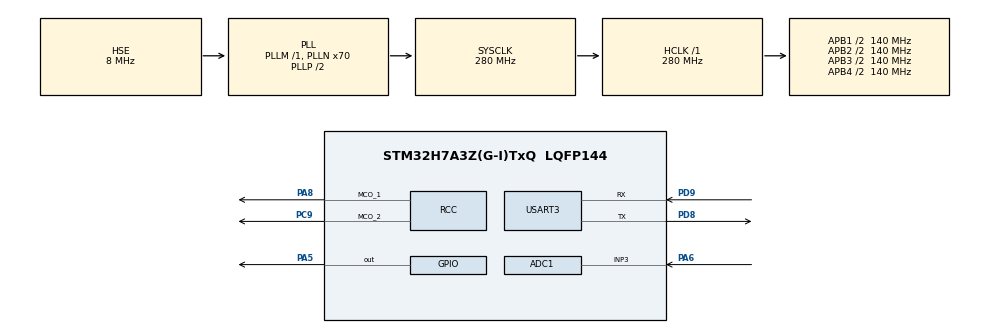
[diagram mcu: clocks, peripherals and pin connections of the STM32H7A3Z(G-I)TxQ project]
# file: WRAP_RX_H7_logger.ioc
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ADC1.Channel-0\#ChannelRegularConversion=ADC_CHANNEL_3
ADC1.ClockPrescaler=ADC_CLOCK_ASYNC_DIV1
ADC1.ContinuousConvMode=ENABLE
ADC1.ConversionDataManagement=ADC_CONVERSIONDATA_DMA_CIRCULAR
ADC1.DMAAccessModeView=ENABLE
ADC1.Mode=ADC_DUALMODE_INTERL
ADC1.NbrOfConversionFlag=1
ADC1.OffsetNumber-0\#ChannelRegularConversion=ADC_OFFSET_NONE
ADC1.OffsetSignedSaturation-0\#ChannelRegularConversion=DISABLE
ADC1.Rank-0\#ChannelRegularConversion=1
ADC1.Resolution=ADC_RESOLUTION_16B
ADC1.SamplingTime-0\#ChannelRegularConversion=ADC_SAMPLETIME_1CYCLE_5
ADC1.TwoSamplingDelay=ADC_TWOSAMPLINGDELAY_4CYCLES
ADC1.master=1
ADC2.Channel-0\#ChannelRegularConversion=ADC_CHANNEL_3
ADC2.DMAAccessModeView=ENABLE
ADC2.Mode=ADC_DUALMODE_INTERL
ADC2.NbrOfConversionFlag=1
ADC2.OffsetNumber-0\#ChannelRegularConversion=ADC_OFFSET_NONE
ADC2.OffsetSignedSaturation-0\#ChannelRegularConversion=DISABLE
ADC2.Rank-0\#ChannelRegularConversion=1
ADC2.SamplingTime-0\#ChannelRegularConversion=ADC_SAMPLETIME_1CYCLE_5
ADC2.TwoSamplingDelay=ADC_TWOSAMPLINGDELAY_4CYCLES
CORTEX_M7.default_mode_Activation=1
Dma.ADC1.0.Direction=DMA_PERIPH_TO_MEMORY
Dma.ADC1.0.EventEnable=DISABLE
Dma.ADC1.0.FIFOMode=DMA_FIFOMODE_DISABLE
Dma.ADC1.0.Instance=DMA1_Stream0
Dma.ADC1.0.MemDataAlignment=DMA_MDATAALIGN_WORD
Dma.ADC1.0.MemInc=DMA_MINC_ENABLE
Dma.ADC1.0.Mode=DMA_CIRCULAR
Dma.ADC1.0.PeriphDataAlignment=DMA_PDATAALIGN_WORD
Dma.ADC1.0.PeriphInc=DMA_PINC_DISABLE
Dma.ADC1.0.Polarity=HAL_DMAMUX_REQ_GEN_RISING
Dma.ADC1.0.Priority=DMA_PRIORITY_HIGH
Dma.ADC1.0.RequestNumber=1
Dma.ADC1.0.SignalID=NONE
Dma.ADC1.0.SyncEnable=DISABLE
Dma.ADC1.0.SyncPolarity=HAL_DMAMUX_SYNC_NO_EVENT
Dma.ADC1.0.SyncRequestNumber=1
Dma.ADC1.0.SyncSignalID=NONE
Dma.Request0=ADC1
Dma.Request1=USART3_RX
Dma.USART3_RX.1.Direction=DMA_PERIPH_TO_MEMORY
Dma.USART3_RX.1.EventEnable=DISABLE
Dma.USART3_RX.1.FIFOMode=DMA_FIFOMODE_DISABLE
Dma.USART3_RX.1.Instance=DMA1_Stream1
Dma.USART3_RX.1.MemDataAlignment=DMA_MDATAALIGN_BYTE
Dma.USART3_RX.1.MemInc=DMA_MINC_ENABLE
Dma.USART3_RX.1.Mode=DMA_CIRCULAR
Dma.USART3_RX.1.PeriphDataAlignment=DMA_PDATAALIGN_BYTE
Dma.USART3_RX.1.PeriphInc=DMA_PINC_DISABLE
Dma.USART3_RX.1.Polarity=HAL_DMAMUX_REQ_GEN_RISING
Dma.USART3_RX.1.Priority=DMA_PRIORITY_LOW
Dma.USART3_RX.1.RequestNumber=1
Dma.USART3_RX.1.SignalID=NONE
Dma.USART3_RX.1.SyncEnable=DISABLE
Dma.USART3_RX.1.SyncPolarity=HAL_DMAMUX_SYNC_NO_EVENT
Dma.USART3_RX.1.SyncRequestNumber=1
Dma.USART3_RX.1.SyncSignalID=NONE
Mcu.Family=STM32H7
Mcu.Name=STM32H7A3Z(G-I)TxQ
Mcu.Package=LQFP144
NVIC.ADC_IRQn=true\:0\:0\:false\:false\:true\:true\:true\:true
NVIC.DMA1_Stream0_IRQn=true\:0\:0\:false\:false\:true\:false\:true\:true
NVIC.DMA1_Stream1_IRQn=true\:0\:0\:false\:false\:true\:false\:true\:true
NVIC.PriorityGroup=NVIC_PRIORITYGROUP_4
NVIC.USART3_IRQn=true\:0\:0\:false\:false\:true\:true\:true\:true
PA5.GPIO_Speed=GPIO_SPEED_FREQ_VERY_HIGH
PA5.Signal=GPIO_Output
PA6.Signal=ADCx_INP3
PA8.Mode=Clock-out-1
PA8.Signal=RCC_MCO_1
PC14-OSC32_IN.Mode=LSE-External-Oscillator
PC14-OSC32_IN.Signal=RCC_OSC32_IN
PC15-OSC32_OUT.Mode=LSE-External-Oscillator
PC15-OSC32_OUT.Signal=RCC_OSC32_OUT
PC9.Mode=Clock-out-2
PC9.Signal=RCC_MCO_2
PD8.Mode=Asynchronous
PD8.Signal=USART3_TX
PD9.Mode=Asynchronous
PD9.Signal=USART3_RX
PH0-OSC_IN.Mode=HSE-External-Oscillator
PH0-OSC_IN.Signal=RCC_OSC_IN
PH1-OSC_OUT.Mode=HSE-External-Oscillator
PH1-OSC_OUT.Signal=RCC_OSC_OUT
ProjectManager.HeapSize=0x200
ProjectManager.StackSize=0x400
ProjectManager.TargetToolchain=STM32CubeIDE
RCC.ADCFreq_Value=50000000
RCC.APB1Freq_Value=140000000
RCC.APB2Freq_Value=140000000
RCC.APB3Freq_Value=140000000
RCC.APB4Freq_Value=140000000
RCC.CDPPRE=RCC_APB3_DIV2
RCC.CDPPRE1=RCC_APB1_DIV2
RCC.CDPPRE2=RCC_APB2_DIV2
RCC.CortexFreq_Value=280000000
RCC.DIVM1=1
RCC.DIVM2=1
RCC.DIVM3=1
RCC.DIVN1=70
RCC.DIVN2=18
RCC.DIVN3=24
RCC.DIVP2=3
RCC.DIVQ1=4
RCC.HCLKFreq_Value=280000000
RCC.HSE_VALUE=8000000
RCC.PLL2FRACN=6144
RCC.PLLSourceVirtual=RCC_PLLSOURCE_HSE
RCC.SRDPPRE=RCC_APB4_DIV2
RCC.SYSCLKFreq_VALUE=280000000
RCC.SYSCLKSource=RCC_SYSCLKSOURCE_PLLCLK
RCC.USBFreq_Value=140000000
SH.ADCx_INP3.0=ADC1_INP3,IN3-Single-Ended
SH.ADCx_INP3.1=ADC2_INP3,IN3-Single-Ended
TIM2.Prescaler=280
USART3.VirtualMode-Asynchronous=VM_ASYNC
VP_RCC_LSE.Mode=CRS SYNC Source LSE
VP_TIM2_VS_ClockSourceINT.Mode=Internal
board=custom

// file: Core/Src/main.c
/* USER CODE BEGIN Header */
/**
  ******************************************************************************
  * @file           : main.c
  * @brief          : Main program body
  ******************************************************************************
  * @attention
  *
  * Copyright (c) 2024 STMicroelectronics.
  * All rights reserved.
  *
  * This software is licensed under terms that can be found in the LICENSE file
  * in the root directory of this software component.
  * If no LICENSE file comes with this software, it is provided AS-IS.
  *
  ******************************************************************************
  */
/* USER CODE END Header */
#include "main.h"

/* USER CODE BEGIN Includes */

#include <stdio.h>
/* USER CODE END Includes */

/* USER CODE BEGIN PD */

#define ADC_BUF_LEN 20000

/* USER CODE END PD */

ADC_HandleTypeDef hadc1;
ADC_HandleTypeDef hadc2;
DMA_HandleTypeDef hdma_adc1;

TIM_HandleTypeDef htim2;

UART_HandleTypeDef huart3;
DMA_HandleTypeDef hdma_usart3_rx;

/* USER CODE BEGIN PV */

uint32_t adc_buf[ADC_BUF_LEN];			// adc buffer
//uint32_t fake_adc_buf[ADC_BUF_LEN] = {104 * 256 + 104};			// adc buffer
uint32_t fake_adc_buf[ADC_BUF_LEN] = {1386475466, 1790081118, 1859631769, 395006603, 1814542037, 4234420369, 150961377, 3461662702, 2478647291, 1119046720, 2384981139, 570094042, 2224569722, 1655125740, 1535223992, 2220224117, 639116284, 1744575339, 1664434135, 2769396341};
uint16_t* adc_samples = &adc_buf;
int done = 0;
int requested = 0;

char rx_msg[2];

/* USER CODE END PV */

void SystemClock_Config(void);
void PeriphCommonClock_Config(void);
static void MPU_Config(void);
static void MX_GPIO_Init(void);
static void MX_DMA_Init(void);
static void MX_ADC1_Init(void);
static void MX_ADC2_Init(void);
static void MX_USART3_UART_Init(void);
static void MX_TIM2_Init(void);

int main(void)
{

  /* MPU Configuration--------------------------------------------------------*/
  MPU_Config();

  /* MCU Configuration--------------------------------------------------------*/

  /* Reset of all peripherals, Initializes the Flash interface and the Systick. */
  HAL_Init();

  /* Configure the system clock */
  SystemClock_Config();

/* Configure the peripherals common clocks */
  PeriphCommonClock_Config();

  /* Initialize all configured peripherals */
  MX_GPIO_Init();
  MX_DMA_Init();
  MX_ADC1_Init();
  MX_ADC2_Init();
  MX_USART3_UART_Init();
  MX_TIM2_Init();
  /* USER CODE BEGIN 2 */

  // Start timers
  HAL_TIM_Base_Start(&htim2);

  // Starts slave ADC (ADC2); this must be started before ADC1. It won't do anything until triggered by ADC1 anyways.
  HAL_ADC_Start(&hadc2);

  // Starts master ADC (ADC1) with fancy multi DMA command. Here is where we specify which buffer the DMA should store values in and how large the buffer is
  HAL_ADCEx_MultiModeStart_DMA(&hadc1, (uint32_t*) adc_buf, ADC_BUF_LEN);

  HAL_UART_Receive_DMA(&huart3, (uint8_t *)rx_msg, sizeof(rx_msg));
  /* USER CODE END 2 */

  /* Infinite loop */
  /* USER CODE BEGIN WHILE */
  while (1)
  {
	  //char msg[256] = {0};
	  if (done && requested) {
//		  for (int i = 0; i < 2 * ADC_BUF_LEN; i++) {
//			  sprintf(msg, "%i: %i\n", i, adc_samples[i]);
//			  HAL_UART_Transmit(&huart3, (uint8_t *)msg, sizeof(msg), 256);
//		  }
		  uint8_t* casted_samples = (uint8_t *)&adc_buf;
		  HAL_UART_Transmit(&huart3, casted_samples, ADC_BUF_LEN*4, 0xFFFFFFFF);
		  done = 0;
		  requested = 0;
	  }
    /* USER CODE END WHILE */

  }
}

void SystemClock_Config(void)
{
  RCC_OscInitTypeDef RCC_OscInitStruct = {0};
  RCC_ClkInitTypeDef RCC_ClkInitStruct = {0};
  RCC_CRSInitTypeDef RCC_CRSInitStruct = {0};

  /*AXI clock gating */
  RCC->CKGAENR = 0xFFFFFFFF;

  /** Supply configuration update enable
  */
  HAL_PWREx_ConfigSupply(PWR_DIRECT_SMPS_SUPPLY);

  /** Configure the main internal regulator output voltage
  */
  __HAL_PWR_VOLTAGESCALING_CONFIG(PWR_REGULATOR_VOLTAGE_SCALE0);

  while(!__HAL_PWR_GET_FLAG(PWR_FLAG_VOSRDY)) {}

  /** Configure LSE Drive Capability
  */
  HAL_PWR_EnableBkUpAccess();
  __HAL_RCC_LSEDRIVE_CONFIG(RCC_LSEDRIVE_LOW);

  /** Initializes the RCC Oscillators according to the specified parameters
  * in the RCC_OscInitTypeDef structure.
  */
  RCC_OscInitStruct.OscillatorType = RCC_OSCILLATORTYPE_HSI48|RCC_OSCILLATORTYPE_HSI
                              |RCC_OSCILLATORTYPE_HSE|RCC_OSCILLATORTYPE_LSE;
  RCC_OscInitStruct.HSEState = RCC_HSE_ON;
  RCC_OscInitStruct.LSEState = RCC_LSE_ON;
  RCC_OscInitStruct.HSIState = RCC_HSI_DIV1;
  RCC_OscInitStruct.HSICalibrationValue = 64;
  RCC_OscInitStruct.HSI48State = RCC_HSI48_ON;
  RCC_OscInitStruct.PLL.PLLState = RCC_PLL_ON;
  RCC_OscInitStruct.PLL.PLLSource = RCC_PLLSOURCE_HSE;
  RCC_OscInitStruct.PLL.PLLM = 1;
  RCC_OscInitStruct.PLL.PLLN = 70;
  RCC_OscInitStruct.PLL.PLLP = 2;
  RCC_OscInitStruct.PLL.PLLQ = 4;
  RCC_OscInitStruct.PLL.PLLR = 2;
  RCC_OscInitStruct.PLL.PLLRGE = RCC_PLL1VCIRANGE_3;
  RCC_OscInitStruct.PLL.PLLVCOSEL = RCC_PLL1VCOWIDE;
  RCC_OscInitStruct.PLL.PLLFRACN = 0;
  if (HAL_RCC_OscConfig(&RCC_OscInitStruct) != HAL_OK)
  {
    Error_Handler();
  }

  /** Initializes the CPU, AHB and APB buses clocks
  */
  RCC_ClkInitStruct.ClockType = RCC_CLOCKTYPE_HCLK|RCC_CLOCKTYPE_SYSCLK
                              |RCC_CLOCKTYPE_PCLK1|RCC_CLOCKTYPE_PCLK2
                              |RCC_CLOCKTYPE_D3PCLK1|RCC_CLOCKTYPE_D1PCLK1;
  RCC_ClkInitStruct.SYSCLKSource = RCC_SYSCLKSOURCE_PLLCLK;
  RCC_ClkInitStruct.SYSCLKDivider = RCC_SYSCLK_DIV1;
  RCC_ClkInitStruct.AHBCLKDivider = RCC_HCLK_DIV1;
  RCC_ClkInitStruct.APB3CLKDivider = RCC_APB3_DIV2;
  RCC_ClkInitStruct.APB1CLKDivider = RCC_APB1_DIV2;
  RCC_ClkInitStruct.APB2CLKDivider = RCC_APB2_DIV2;
  RCC_ClkInitStruct.APB4CLKDivider = RCC_APB4_DIV2;

  if (HAL_RCC_ClockConfig(&RCC_ClkInitStruct, FLASH_LATENCY_6) != HAL_OK)
  {
    Error_Handler();
  }
  HAL_RCC_MCOConfig(RCC_MCO1, RCC_MCO1SOURCE_HSI, RCC_MCODIV_1);
  HAL_RCC_MCOConfig(RCC_MCO2, RCC_MCO2SOURCE_SYSCLK, RCC_MCODIV_1);

  /** Enable the SYSCFG APB clock
  */
  __HAL_RCC_CRS_CLK_ENABLE();

  /** Configures CRS
  */
  RCC_CRSInitStruct.Prescaler = RCC_CRS_SYNC_DIV1;
  RCC_CRSInitStruct.Source = RCC_CRS_SYNC_SOURCE_LSE;
  RCC_CRSInitStruct.Polarity = RCC_CRS_SYNC_POLARITY_RISING;
  RCC_CRSInitStruct.ReloadValue = __HAL_RCC_CRS_RELOADVALUE_CALCULATE(48000000,32768);
  RCC_CRSInitStruct.ErrorLimitValue = 34;
  RCC_CRSInitStruct.HSI48CalibrationValue = 32;

  HAL_RCCEx_CRSConfig(&RCC_CRSInitStruct);
}

void PeriphCommonClock_Config(void)
{
  RCC_PeriphCLKInitTypeDef PeriphClkInitStruct = {0};

  /** Initializes the peripherals clock
  */
  PeriphClkInitStruct.PeriphClockSelection = RCC_PERIPHCLK_ADC;
  PeriphClkInitStruct.PLL2.PLL2M = 1;
  PeriphClkInitStruct.PLL2.PLL2N = 18;
  PeriphClkInitStruct.PLL2.PLL2P = 3;
  PeriphClkInitStruct.PLL2.PLL2Q = 2;
  PeriphClkInitStruct.PLL2.PLL2R = 2;
  PeriphClkInitStruct.PLL2.PLL2RGE = RCC_PLL2VCIRANGE_3;
  PeriphClkInitStruct.PLL2.PLL2VCOSEL = RCC_PLL2VCOWIDE;
  PeriphClkInitStruct.PLL2.PLL2FRACN = 6144;
  PeriphClkInitStruct.AdcClockSelection = RCC_ADCCLKSOURCE_PLL2;
  if (HAL_RCCEx_PeriphCLKConfig(&PeriphClkInitStruct) != HAL_OK)
  {
    Error_Handler();
  }
}

static void MX_ADC1_Init(void)
{

  ADC_MultiModeTypeDef multimode = {0};
  ADC_ChannelConfTypeDef sConfig = {0};

  /** Common config
  */
  hadc1.Instance = ADC1;
  hadc1.Init.ClockPrescaler = ADC_CLOCK_ASYNC_DIV1;
  hadc1.Init.Resolution = ADC_RESOLUTION_16B;
  hadc1.Init.ScanConvMode = ADC_SCAN_DISABLE;
  hadc1.Init.EOCSelection = ADC_EOC_SINGLE_CONV;
  hadc1.Init.LowPowerAutoWait = DISABLE;
  hadc1.Init.ContinuousConvMode = ENABLE;
  hadc1.Init.NbrOfConversion = 1;
  hadc1.Init.DiscontinuousConvMode = DISABLE;
  hadc1.Init.ExternalTrigConv = ADC_SOFTWARE_START;
  hadc1.Init.ExternalTrigConvEdge = ADC_EXTERNALTRIGCONVEDGE_NONE;
  hadc1.Init.ConversionDataManagement = ADC_CONVERSIONDATA_DMA_CIRCULAR;
  hadc1.Init.Overrun = ADC_OVR_DATA_PRESERVED;
  hadc1.Init.LeftBitShift = ADC_LEFTBITSHIFT_NONE;
  hadc1.Init.OversamplingMode = DISABLE;
  if (HAL_ADC_Init(&hadc1) != HAL_OK)
  {
    Error_Handler();
  }

  /** Configure the ADC multi-mode
  */
  multimode.Mode = ADC_DUALMODE_INTERL;
  multimode.DualModeData = ADC_DUALMODEDATAFORMAT_32_10_BITS;
  multimode.TwoSamplingDelay = ADC_TWOSAMPLINGDELAY_4CYCLES;
  if (HAL_ADCEx_MultiModeConfigChannel(&hadc1, &multimode) != HAL_OK)
  {
    Error_Handler();
  }

  /** Configure Regular Channel
  */
  sConfig.Channel = ADC_CHANNEL_3;
  sConfig.Rank = ADC_REGULAR_RANK_1;
  sConfig.SamplingTime = ADC_SAMPLETIME_1CYCLE_5;
  sConfig.SingleDiff = ADC_SINGLE_ENDED;
  sConfig.OffsetNumber = ADC_OFFSET_NONE;
  sConfig.Offset = 0;
  sConfig.OffsetSignedSaturation = DISABLE;
  if (HAL_ADC_ConfigChannel(&hadc1, &sConfig) != HAL_OK)
  {
    Error_Handler();
  }

}

static void MX_ADC2_Init(void)
{

  ADC_ChannelConfTypeDef sConfig = {0};

  /** Common config
  */
  hadc2.Instance = ADC2;
  hadc2.Init.ClockPrescaler = ADC_CLOCK_ASYNC_DIV1;
  hadc2.Init.Resolution = ADC_RESOLUTION_16B;
  hadc2.Init.ScanConvMode = ADC_SCAN_DISABLE;
  hadc2.Init.EOCSelection = ADC_EOC_SINGLE_CONV;
  hadc2.Init.LowPowerAutoWait = DISABLE;
  hadc2.Init.ContinuousConvMode = ENABLE;
  hadc2.Init.NbrOfConversion = 1;
  hadc2.Init.DiscontinuousConvMode = DISABLE;
  hadc2.Init.ConversionDataManagement = ADC_CONVERSIONDATA_DR;
  hadc2.Init.Overrun = ADC_OVR_DATA_PRESERVED;
  hadc2.Init.LeftBitShift = ADC_LEFTBITSHIFT_NONE;
  hadc2.Init.OversamplingMode = DISABLE;
  if (HAL_ADC_Init(&hadc2) != HAL_OK)
  {
    Error_Handler();
  }

  /** Configure Regular Channel
  */
  sConfig.Channel = ADC_CHANNEL_3;
  sConfig.Rank = ADC_REGULAR_RANK_1;
  sConfig.SamplingTime = ADC_SAMPLETIME_1CYCLE_5;
  sConfig.SingleDiff = ADC_SINGLE_ENDED;
  sConfig.OffsetNumber = ADC_OFFSET_NONE;
  sConfig.Offset = 0;
  sConfig.OffsetSignedSaturation = DISABLE;
  if (HAL_ADC_ConfigChannel(&hadc2, &sConfig) != HAL_OK)
  {
    Error_Handler();
  }

}

static void MX_TIM2_Init(void)
{

  TIM_ClockConfigTypeDef sClockSourceConfig = {0};
  TIM_MasterConfigTypeDef sMasterConfig = {0};

  htim2.Instance = TIM2;
  htim2.Init.Prescaler = 280;
  htim2.Init.CounterMode = TIM_COUNTERMODE_UP;
  htim2.Init.Period = 4294967295;
  htim2.Init.ClockDivision = TIM_CLOCKDIVISION_DIV1;
  htim2.Init.AutoReloadPreload = TIM_AUTORELOAD_PRELOAD_DISABLE;
  if (HAL_TIM_Base_Init(&htim2) != HAL_OK)
  {
    Error_Handler();
  }
  sClockSourceConfig.ClockSource = TIM_CLOCKSOURCE_INTERNAL;
  if (HAL_TIM_ConfigClockSource(&htim2, &sClockSourceConfig) != HAL_OK)
  {
    Error_Handler();
  }
  sMasterConfig.MasterOutputTrigger = TIM_TRGO_RESET;
  sMasterConfig.MasterSlaveMode = TIM_MASTERSLAVEMODE_DISABLE;
  if (HAL_TIMEx_MasterConfigSynchronization(&htim2, &sMasterConfig) != HAL_OK)
  {
    Error_Handler();
  }

}

static void MX_USART3_UART_Init(void)
{

  huart3.Instance = USART3;
  huart3.Init.BaudRate = 115200;
  huart3.Init.WordLength = UART_WORDLENGTH_8B;
  huart3.Init.StopBits = UART_STOPBITS_1;
  huart3.Init.Parity = UART_PARITY_NONE;
  huart3.Init.Mode = UART_MODE_TX_RX;
  huart3.Init.HwFlowCtl = UART_HWCONTROL_NONE;
  huart3.Init.OverSampling = UART_OVERSAMPLING_16;
  huart3.Init.OneBitSampling = UART_ONE_BIT_SAMPLE_DISABLE;
  huart3.Init.ClockPrescaler = UART_PRESCALER_DIV1;
  huart3.AdvancedInit.AdvFeatureInit = UART_ADVFEATURE_NO_INIT;
  if (HAL_UART_Init(&huart3) != HAL_OK)
  {
    Error_Handler();
  }
  if (HAL_UARTEx_SetTxFifoThreshold(&huart3, UART_TXFIFO_THRESHOLD_1_8) != HAL_OK)
  {
    Error_Handler();
  }
  if (HAL_UARTEx_SetRxFifoThreshold(&huart3, UART_RXFIFO_THRESHOLD_1_8) != HAL_OK)
  {
    Error_Handler();
  }
  if (HAL_UARTEx_DisableFifoMode(&huart3) != HAL_OK)
  {
    Error_Handler();
  }

}

static void MX_DMA_Init(void)
{

  /* DMA controller clock enable */
  __HAL_RCC_DMA1_CLK_ENABLE();

  /* DMA interrupt init */
  /* DMA1_Stream0_IRQn interrupt configuration */
  HAL_NVIC_SetPriority(DMA1_Stream0_IRQn, 0, 0);
  HAL_NVIC_EnableIRQ(DMA1_Stream0_IRQn);
  /* DMA1_Stream1_IRQn interrupt configuration */
  HAL_NVIC_SetPriority(DMA1_Stream1_IRQn, 0, 0);
  HAL_NVIC_EnableIRQ(DMA1_Stream1_IRQn);

}

static void MX_GPIO_Init(void)
{
  GPIO_InitTypeDef GPIO_InitStruct = {0};

  /* GPIO Ports Clock Enable */
  __HAL_RCC_GPIOC_CLK_ENABLE();
  __HAL_RCC_GPIOH_CLK_ENABLE();
  __HAL_RCC_GPIOA_CLK_ENABLE();
  __HAL_RCC_GPIOD_CLK_ENABLE();

  /*Configure GPIO pin Output Level */
  HAL_GPIO_WritePin(GPIOA, GPIO_PIN_5, GPIO_PIN_RESET);

  /*Configure GPIO pin : PA5 */
  GPIO_InitStruct.Pin = GPIO_PIN_5;
  GPIO_InitStruct.Mode = GPIO_MODE_OUTPUT_PP;
  GPIO_InitStruct.Pull = GPIO_NOPULL;
  GPIO_InitStruct.Speed = GPIO_SPEED_FREQ_VERY_HIGH;
  HAL_GPIO_Init(GPIOA, &GPIO_InitStruct);

  /*Configure GPIO pin : PC9 */
  GPIO_InitStruct.Pin = GPIO_PIN_9;
  GPIO_InitStruct.Mode = GPIO_MODE_AF_PP;
  GPIO_InitStruct.Pull = GPIO_NOPULL;
  GPIO_InitStruct.Speed = GPIO_SPEED_FREQ_LOW;
  GPIO_InitStruct.Alternate = GPIO_AF0_MCO;
  HAL_GPIO_Init(GPIOC, &GPIO_InitStruct);

  /*Configure GPIO pin : PA8 */
  GPIO_InitStruct.Pin = GPIO_PIN_8;
  GPIO_InitStruct.Mode = GPIO_MODE_AF_PP;
  GPIO_InitStruct.Pull = GPIO_NOPULL;
  GPIO_InitStruct.Speed = GPIO_SPEED_FREQ_LOW;
  GPIO_InitStruct.Alternate = GPIO_AF0_MCO;
  HAL_GPIO_Init(GPIOA, &GPIO_InitStruct);

}

/* USER CODE BEGIN 4 */

void HAL_ADC_ConvCpltCallback(ADC_HandleTypeDef* hadc) {
	HAL_ADCEx_MultiModeStop_DMA(&hadc1);
	done = 1;
}

void HAL_UART_RxCpltCallback(UART_HandleTypeDef *huart) {
	requested = 1;
}

/* USER CODE END 4 */

 /* MPU Configuration */

void MPU_Config(void)
{
  MPU_Region_InitTypeDef MPU_InitStruct = {0};

  /* Disables the MPU */
  HAL_MPU_Disable();

  /** Initializes and configures the Region and the memory to be protected
  */
  MPU_InitStruct.Enable = MPU_REGION_ENABLE;
  MPU_InitStruct.Number = MPU_REGION_NUMBER0;
  MPU_InitStruct.BaseAddress = 0x0;
  MPU_InitStruct.Size = MPU_REGION_SIZE_4GB;
  MPU_InitStruct.SubRegionDisable = 0x87;
  MPU_InitStruct.TypeExtField = MPU_TEX_LEVEL0;
  MPU_InitStruct.AccessPermission = MPU_REGION_NO_ACCESS;
  MPU_InitStruct.DisableExec = MPU_INSTRUCTION_ACCESS_DISABLE;
  MPU_InitStruct.IsShareable = MPU_ACCESS_SHAREABLE;
  MPU_InitStruct.IsCacheable = MPU_ACCESS_NOT_CACHEABLE;
  MPU_InitStruct.IsBufferable = MPU_ACCESS_NOT_BUFFERABLE;

  HAL_MPU_ConfigRegion(&MPU_InitStruct);
  /* Enables the MPU */
  HAL_MPU_Enable(MPU_PRIVILEGED_DEFAULT);

}

void Error_Handler(void)
{
  __disable_irq();
  while (1)
  {
  }
}
